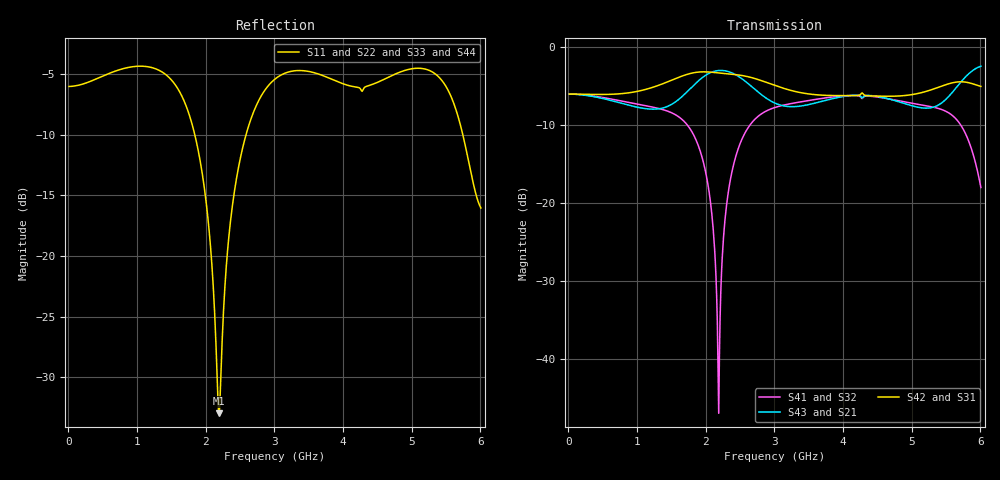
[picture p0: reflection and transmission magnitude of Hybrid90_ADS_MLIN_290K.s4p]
! Created Sun Jan  9 14:01:27 2022
# hz S ma R 50
! 4 Port Network Data from SP1.SP block
! freq  magS11  angS11  magS12  angS12  magS13  angS13  magS14  angS14
!  magS21  angS21  magS22  angS22  magS23  angS23  magS24  angS24
!  magS31  angS31  magS32  angS32  magS33  angS33  magS34  angS34
!  magS41  angS41  magS42  angS42  magS43  angS43  magS44  angS44
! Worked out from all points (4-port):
!   601 points, 10 MHz to 6.01 GHz, reference 50 ohm
!   strongest paths, dB at 10 MHz, 1.51 GHz, 3.01 GHz, 4.51 GHz, 6.01 GHz:
!     S42: -6.0, -4.2, -4.9, -6.3, -5.0
!     S31: -6.0, -4.2, -4.9, -6.3, -5.0
!     S43: -6.0, -7.3, -7.2, -6.3, -2.5
!     S21: -6.0, -7.3, -7.2, -6.3, -2.5
!     S41: -6.0, -8.4, -7.7, -6.4, -18.0
!     S32: -6.0, -8.4, -7.7, -6.4, -18.0
!   lowest |S11| = -33.0 dB at 2.19 GHz (marker M1), VSWR 1.05, Z = 48 + j0.876 ohm
!   |S11| at or under -10 dB: 1.841 GHz to 2.588 GHz (746.8 MHz wide, 33.7 % of centre); 5.747 GHz to end of sweep
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1e7  0.5 -180.0  0.5 -0.6  0.4999 -0.8  0.4999 -0.7
     0.5 -0.6  0.5 -180.0  0.4999 -0.7  0.4999 -0.8
     0.4999 -0.8  0.4999 -0.7  0.5 -180.0  0.5 -0.6
     0.4999 -0.7  0.4999 -0.8  0.5 -0.6  0.5 -180.0
1.79e9  0.3589 109.0  0.5498 -65.3  0.6793 -147.0  0.2913 -131.3
        0.5498 -65.3  0.3589 109.0  0.2913 -131.3  0.6793 -147.0
        0.6793 -147.0  0.2913 -131.3  0.3589 109.0  0.5498 -65.3
        0.2913 -131.3  0.6793 -147.0  0.5498 -65.3  0.3589 109.0
2.19e9  0.02244 156.0  0.7073 -101.3  0.6823 168.8  0.004523 72.6
        0.7073 -101.3  0.02244 156.0  0.004523 72.6  0.6823 168.8
        0.6823 168.8  0.004523 72.6  0.02244 156.0  0.7073 -101.3
        0.004523 72.6  0.6823 168.8  0.7073 -101.3  0.02244 156.0
2.37e9  0.1458 -126.3  0.6865 -119.9  0.6702 150.2  0.1494 -30.9
        0.6865 -119.9  0.1458 -126.3  0.1494 -30.9  0.6702 150.2
        0.6702 150.2  0.1494 -30.9  0.1458 -126.3  0.6865 -119.9
        0.1494 -30.9  0.6702 150.2  0.6865 -119.9  0.1458 -126.3
2.85e9  0.477 -154.5  0.4814 -152.7  0.601 100.2  0.3825 -90.7
        0.4814 -152.7  0.477 -154.5  0.3825 -90.7  0.601 100.2
        0.601 100.2  0.3825 -90.7  0.477 -154.5  0.4814 -152.7
        0.3825 -90.7  0.601 100.2  0.4814 -152.7  0.477 -154.5
4.95e9  0.5873 144.8  0.4275 116.6  0.4918 -85.7  0.441 104.3
        0.4275 116.6  0.5873 144.8  0.441 104.3  0.4918 -85.7
        0.4918 -85.7  0.441 104.3  0.5873 144.8  0.4275 116.6
        0.441 104.3  0.4918 -85.7  0.4275 116.6  0.5873 144.8
6.01e9  0.1577 122.3  0.754 68.3  0.5597 156.3  0.1261 -52.2
        0.754 68.3  0.1577 122.3  0.1261 -52.2  0.5597 156.3
        0.5597 156.3  0.1261 -52.2  0.1577 122.3  0.754 68.3
        0.1261 -52.2  0.5597 156.3  0.754 68.3  0.1577 122.3
